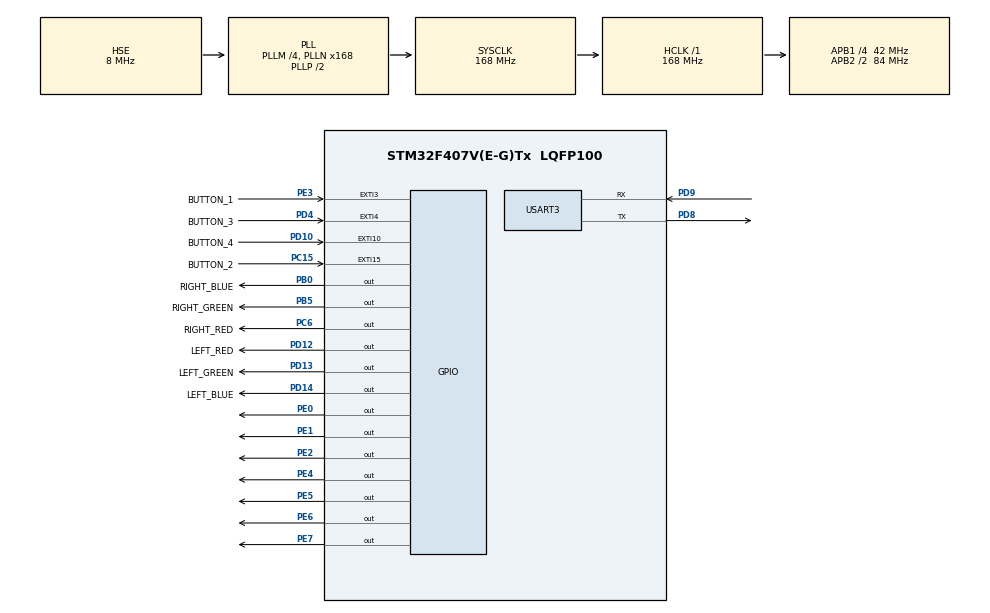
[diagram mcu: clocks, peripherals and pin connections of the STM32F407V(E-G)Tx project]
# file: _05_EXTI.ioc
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Mcu.Family=STM32F4
Mcu.Name=STM32F407V(E-G)Tx
Mcu.Package=LQFP100
NVIC.EXTI15_10_IRQn=true\:0\:0\:false\:true\:true\:5\:true\:true\:true
NVIC.EXTI3_IRQn=true\:0\:0\:false\:true\:true\:3\:true\:true\:true
NVIC.EXTI4_IRQn=true\:0\:0\:false\:true\:true\:4\:true\:true\:true
NVIC.PriorityGroup=NVIC_PRIORITYGROUP_4
NVIC.TIM7_IRQn=true\:0\:0\:false\:true\:true\:2\:true\:true\:true
NVIC.USART3_IRQn=true\:0\:0\:false\:true\:true\:1\:true\:true\:true
PB0.GPIO_Label=RIGHT_BLUE
PB0.PinState=GPIO_PIN_SET
PB0.Signal=GPIO_Output
PB5.GPIO_Label=RIGHT_GREEN
PB5.PinState=GPIO_PIN_SET
PB5.Signal=GPIO_Output
PC15-OSC32_OUT.GPIO_Label=BUTTON_2
PC15-OSC32_OUT.GPIO_ModeDefaultEXTI=GPIO_MODE_IT_RISING
PC15-OSC32_OUT.Signal=GPXTI15
PC6.GPIO_Label=RIGHT_RED
PC6.PinState=GPIO_PIN_SET
PC6.Signal=GPIO_Output
PD10.GPIO_Label=BUTTON_4
PD10.GPIO_ModeDefaultEXTI=GPIO_MODE_IT_RISING
PD10.Signal=GPXTI10
PD12.GPIO_Label=LEFT_RED
PD12.PinState=GPIO_PIN_SET
PD12.Signal=GPIO_Output
PD13.GPIO_Label=LEFT_GREEN
PD13.PinState=GPIO_PIN_SET
PD13.Signal=GPIO_Output
PD14.GPIO_Label=LEFT_BLUE
PD14.PinState=GPIO_PIN_SET
PD14.Signal=GPIO_Output
PD4.GPIO_Label=BUTTON_3
PD4.GPIO_ModeDefaultEXTI=GPIO_MODE_IT_RISING
PD4.Signal=GPXTI4
PD8.Mode=Asynchronous
PD8.Signal=USART3_TX
PD9.Mode=Asynchronous
PD9.Signal=USART3_RX
PE0.Signal=GPIO_Output
PE1.Signal=GPIO_Output
PE2.Signal=GPIO_Output
PE3.GPIO_Label=BUTTON_1
PE3.GPIO_ModeDefaultEXTI=GPIO_MODE_IT_RISING
PE3.Signal=GPXTI3
PE4.Signal=GPIO_Output
PE5.Signal=GPIO_Output
PE6.Signal=GPIO_Output
PE7.Signal=GPIO_Output
PH0-OSC_IN.Mode=HSE-External-Oscillator
PH0-OSC_IN.Signal=RCC_OSC_IN
PH1-OSC_OUT.Mode=HSE-External-Oscillator
PH1-OSC_OUT.Signal=RCC_OSC_OUT
ProjectManager.HeapSize=0x200
ProjectManager.StackSize=0x400
ProjectManager.TargetToolchain=STM32CubeIDE
RCC.48MHZClocksFreq_Value=84000000
RCC.AHBFreq_Value=168000000
RCC.APB1CLKDivider=RCC_HCLK_DIV4
RCC.APB1Freq_Value=42000000
RCC.APB1TimFreq_Value=84000000
RCC.APB2CLKDivider=RCC_HCLK_DIV2
RCC.APB2Freq_Value=84000000
RCC.APB2TimFreq_Value=168000000
RCC.CortexFreq_Value=168000000
RCC.HCLKFreq_Value=168000000
RCC.HSE_VALUE=8000000
RCC.HSI_VALUE=16000000
RCC.LSE_VALUE=32768
RCC.PLLM=4
RCC.PLLN=168
RCC.PLLSourceVirtual=RCC_PLLSOURCE_HSE
RCC.SYSCLKFreq_VALUE=168000000
RCC.SYSCLKSource=RCC_SYSCLKSOURCE_PLLCLK
RCC.VCOOutputFreq_Value=336000000
TIM7.Period=8400 - 1
TIM7.Prescaler=10000 - 1
USART3.VirtualMode=VM_ASYNC
VP_TIM7_VS_ClockSourceINT.Mode=Enable_Timer
board=custom

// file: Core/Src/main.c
/* USER CODE BEGIN Header */
/**
  ******************************************************************************
  * @file           : main.c
  * @brief          : Main program body
  ******************************************************************************
  * @attention
  *
  * Copyright (c) 2025 STMicroelectronics.
  * All rights reserved.
  *
  * This software is licensed under terms that can be found in the LICENSE file
  * in the root directory of this software component.
  * If no LICENSE file comes with this software, it is provided AS-IS.
  *
  ******************************************************************************
  */
/* USER CODE END Header */
#include "main.h"

/* USER CODE BEGIN Includes */
#include <stdio.h>
#include "button.h"
#include "led.h"
#include "uart.h"
#include "lcd.h"
/* USER CODE END Includes */

TIM_HandleTypeDef htim7;

UART_HandleTypeDef huart3;

void SystemClock_Config(void);
static void MX_GPIO_Init(void);
static void MX_USART3_UART_Init(void);
static void MX_TIM7_Init(void);
static void MX_NVIC_Init(void);

int main(void)
{

  /* MCU Configuration--------------------------------------------------------*/

  /* Reset of all peripherals, Initializes the Flash interface and the Systick. */
  HAL_Init();

  /* USER CODE BEGIN Init */
  CLCD_GPIO_Init();
  CLCD_Init();
  /* USER CODE END Init */

  /* Configure the system clock */
  SystemClock_Config();

  /* Initialize all configured peripherals */
  MX_GPIO_Init();
  MX_USART3_UART_Init();
  MX_TIM7_Init();

  /* Initialize interrupts */
  MX_NVIC_Init();
  /* USER CODE BEGIN 2 */
  HAL_TIM_Base_Start_IT(&htim7);
  /* USER CODE END 2 */

  /* Infinite loop */
  /* USER CODE BEGIN WHILE */

  receive_data();

  while (1)
  {
//	  static uint8_t count;
//	  operate_lcd_top("%03d", count++);
//	  HAL_Delay(1000);

    /* USER CODE END WHILE */

  }
}

void SystemClock_Config(void)
{
  RCC_OscInitTypeDef RCC_OscInitStruct = {0};
  RCC_ClkInitTypeDef RCC_ClkInitStruct = {0};

  /** Configure the main internal regulator output voltage
  */
  __HAL_RCC_PWR_CLK_ENABLE();
  __HAL_PWR_VOLTAGESCALING_CONFIG(PWR_REGULATOR_VOLTAGE_SCALE1);

  /** Initializes the RCC Oscillators according to the specified parameters
  * in the RCC_OscInitTypeDef structure.
  */
  RCC_OscInitStruct.OscillatorType = RCC_OSCILLATORTYPE_HSE;
  RCC_OscInitStruct.HSEState = RCC_HSE_ON;
  RCC_OscInitStruct.PLL.PLLState = RCC_PLL_ON;
  RCC_OscInitStruct.PLL.PLLSource = RCC_PLLSOURCE_HSE;
  RCC_OscInitStruct.PLL.PLLM = 4;
  RCC_OscInitStruct.PLL.PLLN = 168;
  RCC_OscInitStruct.PLL.PLLP = RCC_PLLP_DIV2;
  RCC_OscInitStruct.PLL.PLLQ = 4;
  if (HAL_RCC_OscConfig(&RCC_OscInitStruct) != HAL_OK)
  {
    Error_Handler();
  }

  /** Initializes the CPU, AHB and APB buses clocks
  */
  RCC_ClkInitStruct.ClockType = RCC_CLOCKTYPE_HCLK|RCC_CLOCKTYPE_SYSCLK
                              |RCC_CLOCKTYPE_PCLK1|RCC_CLOCKTYPE_PCLK2;
  RCC_ClkInitStruct.SYSCLKSource = RCC_SYSCLKSOURCE_PLLCLK;
  RCC_ClkInitStruct.AHBCLKDivider = RCC_SYSCLK_DIV1;
  RCC_ClkInitStruct.APB1CLKDivider = RCC_HCLK_DIV4;
  RCC_ClkInitStruct.APB2CLKDivider = RCC_HCLK_DIV2;

  if (HAL_RCC_ClockConfig(&RCC_ClkInitStruct, FLASH_LATENCY_5) != HAL_OK)
  {
    Error_Handler();
  }
}

/**
  * @brief NVIC Configuration.
  * @retval None
  */
static void MX_NVIC_Init(void)
{
  /* USART3_IRQn interrupt configuration */
  HAL_NVIC_SetPriority(USART3_IRQn, 0, 0);
  HAL_NVIC_EnableIRQ(USART3_IRQn);
  /* TIM7_IRQn interrupt configuration */
  HAL_NVIC_SetPriority(TIM7_IRQn, 0, 0);
  HAL_NVIC_EnableIRQ(TIM7_IRQn);
  /* EXTI3_IRQn interrupt configuration */
  HAL_NVIC_SetPriority(EXTI3_IRQn, 0, 0);
  HAL_NVIC_EnableIRQ(EXTI3_IRQn);
  /* EXTI4_IRQn interrupt configuration */
  HAL_NVIC_SetPriority(EXTI4_IRQn, 0, 0);
  HAL_NVIC_EnableIRQ(EXTI4_IRQn);
  /* EXTI15_10_IRQn interrupt configuration */
  HAL_NVIC_SetPriority(EXTI15_10_IRQn, 0, 0);
  HAL_NVIC_EnableIRQ(EXTI15_10_IRQn);
}

static void MX_TIM7_Init(void)
{

  TIM_MasterConfigTypeDef sMasterConfig = {0};

  htim7.Instance = TIM7;
  htim7.Init.Prescaler = 10000 - 1;
  htim7.Init.CounterMode = TIM_COUNTERMODE_UP;
  htim7.Init.Period = 8400 - 1;
  htim7.Init.AutoReloadPreload = TIM_AUTORELOAD_PRELOAD_DISABLE;
  if (HAL_TIM_Base_Init(&htim7) != HAL_OK)
  {
    Error_Handler();
  }
  sMasterConfig.MasterOutputTrigger = TIM_TRGO_RESET;
  sMasterConfig.MasterSlaveMode = TIM_MASTERSLAVEMODE_DISABLE;
  if (HAL_TIMEx_MasterConfigSynchronization(&htim7, &sMasterConfig) != HAL_OK)
  {
    Error_Handler();
  }

}

static void MX_USART3_UART_Init(void)
{

  huart3.Instance = USART3;
  huart3.Init.BaudRate = 115200;
  huart3.Init.WordLength = UART_WORDLENGTH_8B;
  huart3.Init.StopBits = UART_STOPBITS_1;
  huart3.Init.Parity = UART_PARITY_NONE;
  huart3.Init.Mode = UART_MODE_TX_RX;
  huart3.Init.HwFlowCtl = UART_HWCONTROL_NONE;
  huart3.Init.OverSampling = UART_OVERSAMPLING_16;
  if (HAL_UART_Init(&huart3) != HAL_OK)
  {
    Error_Handler();
  }

}

static void MX_GPIO_Init(void)
{
  GPIO_InitTypeDef GPIO_InitStruct = {0};

  /* GPIO Ports Clock Enable */
  __HAL_RCC_GPIOE_CLK_ENABLE();
  __HAL_RCC_GPIOC_CLK_ENABLE();
  __HAL_RCC_GPIOH_CLK_ENABLE();
  __HAL_RCC_GPIOB_CLK_ENABLE();
  __HAL_RCC_GPIOD_CLK_ENABLE();

  /*Configure GPIO pin Output Level */
  HAL_GPIO_WritePin(GPIOE, GPIO_PIN_2|GPIO_PIN_4|GPIO_PIN_5|GPIO_PIN_6
                          |GPIO_PIN_7|GPIO_PIN_0|GPIO_PIN_1, GPIO_PIN_RESET);

  /*Configure GPIO pin Output Level */
  HAL_GPIO_WritePin(GPIOB, RIGHT_BLUE_Pin|RIGHT_GREEN_Pin, GPIO_PIN_SET);

  /*Configure GPIO pin Output Level */
  HAL_GPIO_WritePin(GPIOD, LEFT_RED_Pin|LEFT_GREEN_Pin|LEFT_BLUE_Pin, GPIO_PIN_SET);

  /*Configure GPIO pin Output Level */
  HAL_GPIO_WritePin(RIGHT_RED_GPIO_Port, RIGHT_RED_Pin, GPIO_PIN_SET);

  /*Configure GPIO pins : PE2 PE4 PE5 PE6
                           PE7 PE0 PE1 */
  GPIO_InitStruct.Pin = GPIO_PIN_2|GPIO_PIN_4|GPIO_PIN_5|GPIO_PIN_6
                          |GPIO_PIN_7|GPIO_PIN_0|GPIO_PIN_1;
  GPIO_InitStruct.Mode = GPIO_MODE_OUTPUT_PP;
  GPIO_InitStruct.Pull = GPIO_NOPULL;
  GPIO_InitStruct.Speed = GPIO_SPEED_FREQ_LOW;
  HAL_GPIO_Init(GPIOE, &GPIO_InitStruct);

  /*Configure GPIO pin : BUTTON_1_Pin */
  GPIO_InitStruct.Pin = BUTTON_1_Pin;
  GPIO_InitStruct.Mode = GPIO_MODE_IT_RISING;
  GPIO_InitStruct.Pull = GPIO_NOPULL;
  HAL_GPIO_Init(BUTTON_1_GPIO_Port, &GPIO_InitStruct);

  /*Configure GPIO pin : BUTTON_2_Pin */
  GPIO_InitStruct.Pin = BUTTON_2_Pin;
  GPIO_InitStruct.Mode = GPIO_MODE_IT_RISING;
  GPIO_InitStruct.Pull = GPIO_NOPULL;
  HAL_GPIO_Init(BUTTON_2_GPIO_Port, &GPIO_InitStruct);

  /*Configure GPIO pins : RIGHT_BLUE_Pin RIGHT_GREEN_Pin */
  GPIO_InitStruct.Pin = RIGHT_BLUE_Pin|RIGHT_GREEN_Pin;
  GPIO_InitStruct.Mode = GPIO_MODE_OUTPUT_PP;
  GPIO_InitStruct.Pull = GPIO_NOPULL;
  GPIO_InitStruct.Speed = GPIO_SPEED_FREQ_LOW;
  HAL_GPIO_Init(GPIOB, &GPIO_InitStruct);

  /*Configure GPIO pins : BUTTON_4_Pin BUTTON_3_Pin */
  GPIO_InitStruct.Pin = BUTTON_4_Pin|BUTTON_3_Pin;
  GPIO_InitStruct.Mode = GPIO_MODE_IT_RISING;
  GPIO_InitStruct.Pull = GPIO_NOPULL;
  HAL_GPIO_Init(GPIOD, &GPIO_InitStruct);

  /*Configure GPIO pins : LEFT_RED_Pin LEFT_GREEN_Pin LEFT_BLUE_Pin */
  GPIO_InitStruct.Pin = LEFT_RED_Pin|LEFT_GREEN_Pin|LEFT_BLUE_Pin;
  GPIO_InitStruct.Mode = GPIO_MODE_OUTPUT_PP;
  GPIO_InitStruct.Pull = GPIO_NOPULL;
  GPIO_InitStruct.Speed = GPIO_SPEED_FREQ_LOW;
  HAL_GPIO_Init(GPIOD, &GPIO_InitStruct);

  /*Configure GPIO pin : RIGHT_RED_Pin */
  GPIO_InitStruct.Pin = RIGHT_RED_Pin;
  GPIO_InitStruct.Mode = GPIO_MODE_OUTPUT_PP;
  GPIO_InitStruct.Pull = GPIO_NOPULL;
  GPIO_InitStruct.Speed = GPIO_SPEED_FREQ_LOW;
  HAL_GPIO_Init(RIGHT_RED_GPIO_Port, &GPIO_InitStruct);

}

/* USER CODE BEGIN 4 */
int _write(int file, char *ptr, int len)
{
	HAL_UART_Transmit(&huart3, (const uint8_t*) ptr, len, 100);

	return len;
}

void HAL_UART_RxCpltCallback(UART_HandleTypeDef *huart)
{
	if (huart->Instance == USART3)
	{
		if (receive_data() == HAL_OK)
		{
			transmit_data();
		}
	}
}

void HAL_TIM_PeriodElapsedCallback(TIM_HandleTypeDef *htim)
{
	if (htim->Instance == TIM7)
	{

	}
}

void HAL_GPIO_EXTI_Callback(uint16_t GPIO_Pin)
{
	if (GPIO_Pin == BUTTON_1_Pin) HAL_GPIO_TogglePin(LEFT_RED_GPIO_Port, LEFT_RED_Pin);
	if (GPIO_Pin == BUTTON_2_Pin) HAL_GPIO_TogglePin(LEFT_GREEN_GPIO_Port, LEFT_GREEN_Pin);
	if (GPIO_Pin == BUTTON_3_Pin) HAL_GPIO_TogglePin(LEFT_BLUE_GPIO_Port, LEFT_BLUE_Pin);
	if (GPIO_Pin == BUTTON_4_Pin) HAL_GPIO_TogglePin(RIGHT_RED_GPIO_Port, RIGHT_RED_Pin);
}
/* USER CODE END 4 */

void Error_Handler(void)
{
  __disable_irq();
  while (1)
  {
  }
}
